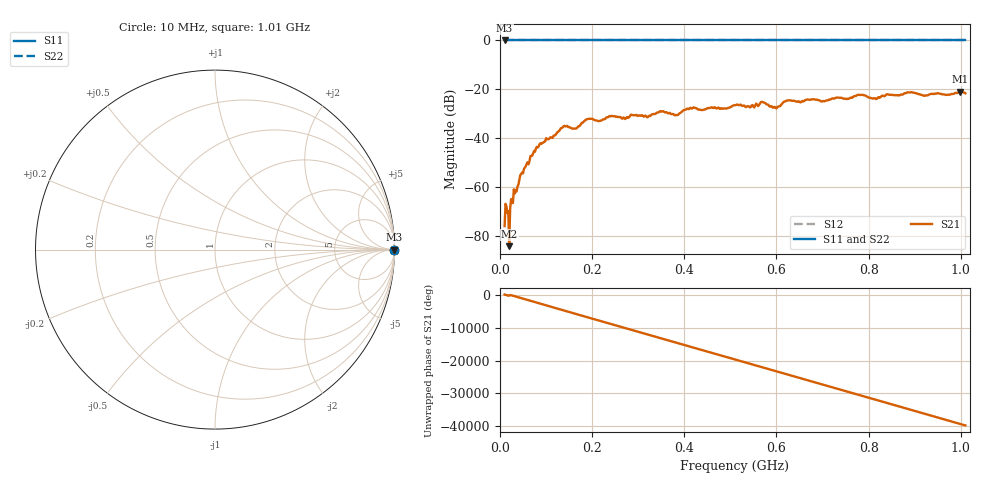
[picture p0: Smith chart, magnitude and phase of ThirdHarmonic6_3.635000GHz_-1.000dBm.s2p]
! 8/17/2025 12:12:07 PM
! C:\ANRITSUVNA\TEMP\TEMP.S2P
! CHANNEL.1
! TR.MEASUREMENT
! RAW.DATA
! RF.CORRECTION.OFF
! AVERAGING.OFF
! IF.BANDWIDTH: 5KHZ
! SWEEPTYPE:  FREQ.SWEEP(Linear)
! Reference Plane Port Info
! PORT:  PORT1  PORT2
! DISTANCE:  0  m  0  m
! TIME:  0  s  0  s
! PHASE.OFFSET:  0  deg.  0  deg.
! LOSS:  0  dB  0  dB
! REF.LOSS:  0  dB  0  dB
! REF.FREQ:  0  Hz  0  Hz
! Power Info
! POWER:  -20  dBm  -20  dBm
! EFF.POWER:  -20  dBm  -20  dBm
! SOURCE.ATTEN:  0  dB  0  dB
! TEST.ATTEN:  0  dB  0  dB
# GHZ S RI R 50.0
! FREQ.GHZ  S11RE  S11IM  S21RE  S21IM  S12RE  S12IM  S22RE  S22IM
!; PortSelection: Port_12
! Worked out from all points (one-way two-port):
!   501 points, 10 MHz to 1.01 GHz, reference 50 ohm
!   highest |S21| = -20.92 dB at 998 MHz (marker M1); lowest = -84.3 dB at 20 MHz (marker M2)
!   lowest |S11| = 0.0 dB at 10 MHz (marker M3)
!   |S11| at or under -10 dB: nowhere
!   |S22| runs from 0.0 to 0.0 dB; largest |S21 - S12| = 1.1
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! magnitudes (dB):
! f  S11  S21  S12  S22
! 10 MHz  0.0  -76.0  0.0  0.0
! 14 MHz  0.0  -67.9  0.0  0.0
! 20 MHz  0.0  -84.3  0.0  0.0
! 24 MHz  0.0  -65.0  0.0  0.0
! 28 MHz  0.0  -66.6  0.0  0.0
! 48 MHz  0.0  -54.1  0.0  0.0
! 82 MHz  0.0  -43.8  0.0  0.0
! 136 MHz  0.0  -35.6  0.0  0.0
! 162 MHz  0.0  -36.1  0.0  0.0
! 178 MHz  0.0  -33.7  0.0  0.0
! 192 MHz  0.0  -32.1  0.0  0.0
! 344 MHz  0.0  -29.5  0.0  0.0
! 382 MHz  0.0  -30.5  0.0  0.0
! 416 MHz  0.0  -27.9  0.0  0.0
! 510 MHz  0.0  -26.5  0.0  0.0
! 570 MHz  0.0  -25.2  0.0  0.0
! 596 MHz  0.0  -27.2  0.0  0.0
! 624 MHz  0.0  -24.6  0.0  0.0
! 678 MHz  0.0  -24.1  0.0  0.0
! 844 MHz  0.0  -22.2  0.0  0.0
! 998 MHz  0.0  -20.9  0.0  0.0
! 1.01 GHz  0.0  -21.6  0.0  0.0
